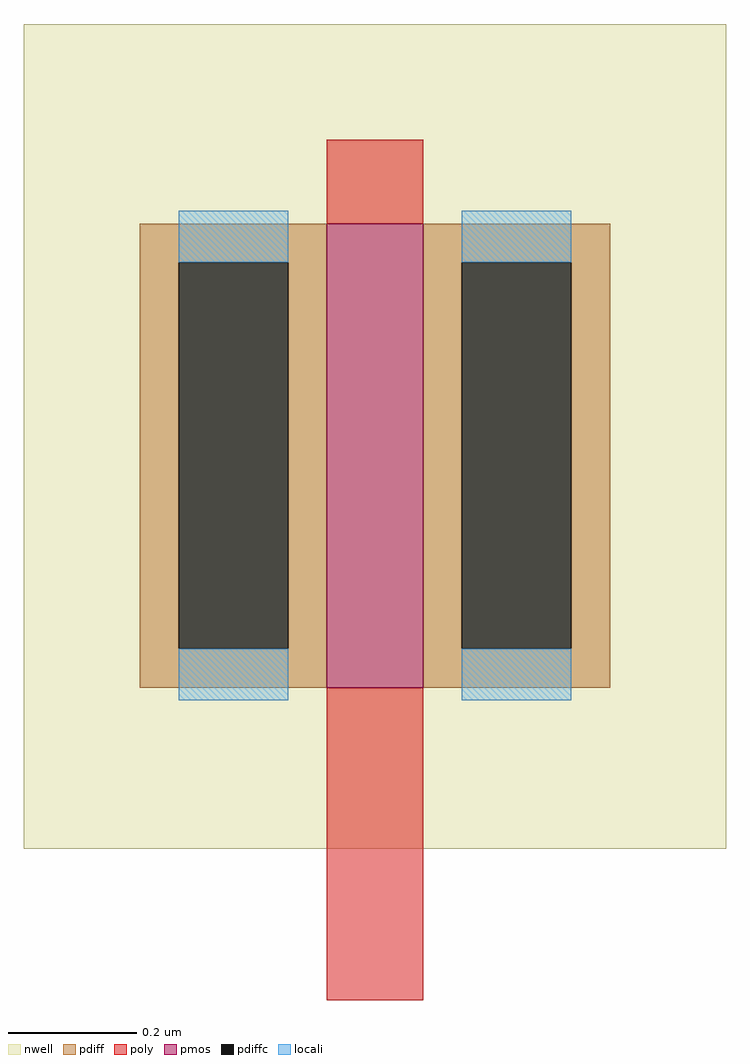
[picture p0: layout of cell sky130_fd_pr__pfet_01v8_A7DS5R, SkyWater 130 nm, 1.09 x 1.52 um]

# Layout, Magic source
magic
tech sky130A
magscale 1 2
<< nwell >>
rect -109 -86 109 170
<< pmos >>
rect -15 -36 15 108
<< pdiff >>
rect -73 96 -15 108
rect -73 -24 -61 96
rect -27 -24 -15 96
rect -73 -36 -15 -24
rect 15 96 73 108
rect 15 -24 27 96
rect 61 -24 73 96
rect 15 -36 73 -24
<< pdiffc >>
rect -61 -24 -27 96
rect 27 -24 61 96
<< poly >>
rect -15 108 15 134
rect -15 -133 15 -36
<< locali >>
rect -61 96 -27 112
rect -61 -40 -27 -24
rect 27 96 61 112
rect 27 -40 61 -24
<< properties >>
string gencell sky130_fd_pr__pfet_01v8
string library sky130
string parameters w 0.72 l 0.15 m 1 nf 1 diffcov 100 polycov 100 guard 0 glc 0 grc 0 gtc 0 gbc 0 tbcov 100 rlcov 100 topc 0 botc 1 poverlap 0 doverlap 1 lmin 0.15 wmin 0.42 compatible {sky130_fd_pr__pfet_01v8  sky130_fd_pr__pfet_01v8_lvt sky130_fd_pr__pfet_01v8_hvt  sky130_fd_pr__pfet_g5v0d10v5} full_metal 0 viasrc 100 viadrn 100 viagate 100 viagb 0 viagr 0 viagl 0 viagt 0
<< end >>
